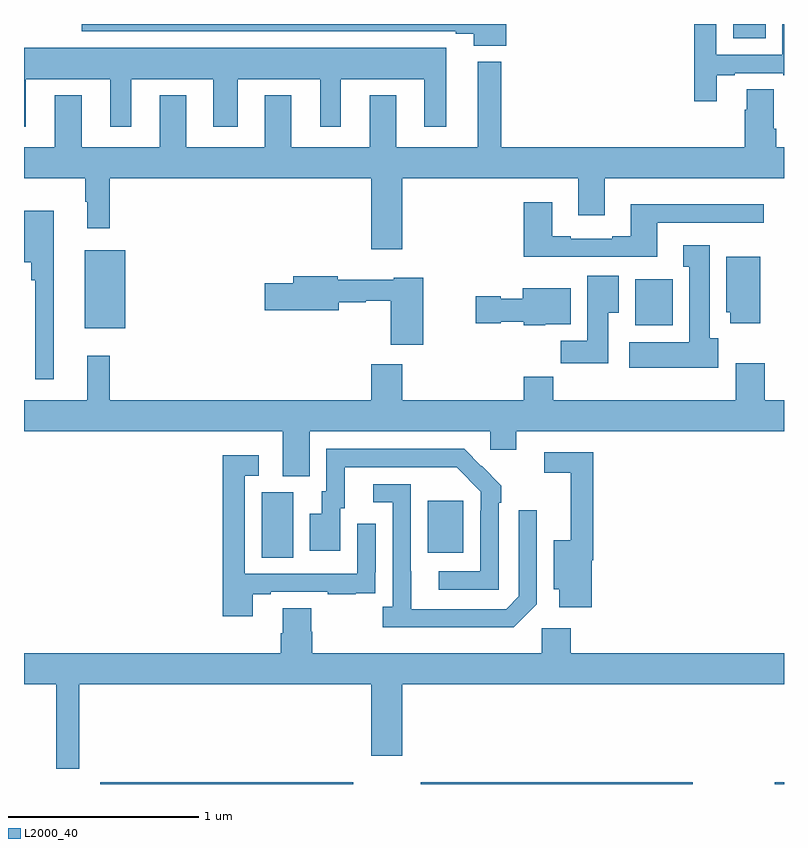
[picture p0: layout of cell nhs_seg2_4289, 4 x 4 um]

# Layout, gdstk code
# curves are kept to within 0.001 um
import gdstk
lib = gdstk.Library(unit=1e-6, precision=1e-09)
def R(c, l, rs):  # rectangles x0, y0, x1, y1
    for r in rs: c.add(gdstk.rectangle(r[:2], r[2:], *l))
def P(c, l, *ps):  # polygons
    for p in ps: c.add(gdstk.Polygon(p, *l))
L2000_40 = (2000, 40)

nhs_seg2_4289 = lib.new_cell('nhs_seg2_4289')
R(nhs_seg2_4289, L2000_40, [(343.402,625.8,344.732,625.808), (345.088,625.8,346.52,625.808), (346.95,625.8,347,625.808), (344.252,626.992,344.416,627.336), (345.125,627.017,345.313,627.292), (343.319,628.199,343.534,628.609), (346.217,628.214,346.414,628.456), (346.733,629.726,346.903,629.8)])
P(nhs_seg2_4289, L2000_40, [(346.645,629.529),(346.741,629.529),(346.741,629.541),(346.997,629.541),(346.997,629.529),(347,629.529),(347,629.8),(346.991,629.8),(346.991,629.637),(346.644,629.637),(346.644,629.8),(346.528,629.8),(346.528,629.394),(346.645,629.394)],
  [(345.539,629.8),(343.305,629.8),(343.305,629.762),(345.272,629.762),(345.272,629.75),(345.368,629.75),(345.368,629.686),(345.539,629.686)],
  [(343.009,629.51),(343.454,629.51),(343.454,629.259),(343.564,629.259),(343.564,629.51),(343.997,629.51),(343.997,629.259),(344.125,629.259),(344.125,629.51),(344.558,629.51),(344.558,629.259),(344.668,629.259),(344.668,629.51),(345.107,629.51),(345.107,629.259),(345.223,629.259),(345.223,629.674),(343,629.674),(343,629.259),(343.009,629.259)],
  [(344.992,628.988),(345.917,628.988),(345.917,628.794),(346.057,628.794),(346.057,628.988),(347,628.988),(347,629.152),(346.958,629.152),(346.958,629.248),(346.945,629.248),(346.945,629.456),(346.805,629.456),(346.805,629.348),(346.793,629.348),(346.793,629.152),(345.511,629.152),(345.511,629.601),(345.389,629.601),(345.389,629.152),(344.959,629.152),(344.959,629.425),(344.819,629.425),(344.819,629.152),(344.407,629.152),(344.407,629.425),(344.267,629.425),(344.267,629.152),(343.855,629.152),(343.855,629.425),(343.715,629.425),(343.715,629.152),(343.303,629.152),(343.303,629.425),(343.163,629.425),(343.163,629.152),(343,629.152),(343,628.988),(343.323,628.988),(343.323,628.865),(343.334,628.865),(343.334,628.725),(343.451,628.725),(343.451,628.988),(344.828,628.988),(344.828,628.614),(344.992,628.614)],
  [(345.869,628.575),(346.333,628.575),(346.333,628.755),(346.894,628.755),(346.894,628.852),(346.193,628.852),(346.193,628.684),(346.097,628.684),(346.097,628.671),(345.877,628.671),(345.877,628.684),(345.781,628.684),(345.781,628.861),(345.629,628.861),(345.629,628.574),(345.869,628.574)],
  [(343.156,628.816),(343,628.816),(343,628.547),(343.039,628.547),(343.039,628.451),(343.059,628.451),(343.059,627.93),(343.156,627.93)],
  [(346.654,628.146),(346.609,628.146),(346.609,628.636),(346.469,628.636),(346.469,628.523),(346.502,628.523),(346.502,628.126),(346.185,628.126),(346.185,627.992),(346.654,627.992)],
  [(346.876,628.576),(346.697,628.576),(346.697,628.284),(346.718,628.284),(346.718,628.224),(346.876,628.224)],
  [(346.075,628.28),(346.129,628.28),(346.129,628.474),(345.965,628.474),(345.965,628.132),(345.826,628.132),(345.826,628.014),(346.075,628.014)],
  [(345.1,628.465),(344.946,628.465),(344.946,628.453),(344.652,628.453),(344.652,628.472),(344.417,628.472),(344.417,628.436),(344.268,628.436),(344.268,628.294),(344.656,628.294),(344.656,628.336),(344.799,628.336),(344.799,628.344),(344.93,628.344),(344.93,628.113),(345.1,628.113)],
  [(345.744,628.22),(345.877,628.22),(345.877,628.408),(345.626,628.408),(345.626,628.354),(345.51,628.354),(345.51,628.367),(345.378,628.367),(345.378,628.225),(345.51,628.225),(345.51,628.232),(345.63,628.232),(345.63,628.214),(345.744,628.214)],
  [(345.453,627.558),(345.592,627.558),(345.592,627.656),(347,627.656),(347,627.82),(346.898,627.82),(346.898,628.015),(346.745,628.015),(346.745,627.82),(345.785,627.82),(345.785,627.944),(345.629,627.944),(345.629,627.82),(344.992,627.82),(344.992,628.009),(344.828,628.009),(344.828,627.82),(343.451,627.82),(343.451,628.054),(343.334,628.054),(343.334,627.82),(343,627.82),(343,627.656),(344.363,627.656),(344.363,627.421),(344.503,627.421),(344.503,627.656),(345.453,627.656)],
  [(345.498,627.281),(345.513,627.281),(345.513,627.369),(345.316,627.564),(344.592,627.564),(344.592,627.342),(344.567,627.342),(344.567,627.223),(344.504,627.223),(344.504,627.027),(344.665,627.027),(344.665,627.252),(344.689,627.252),(344.689,627.468),(345.277,627.468),(345.405,627.339),(345.405,627.239),(345.402,627.239),(345.402,626.919),(345.183,626.919),(345.183,626.823),(345.498,626.823)],
  [(345.989,626.978),(345.995,626.978),(345.995,627.546),(345.738,627.546),(345.738,627.438),(345.878,627.438),(345.878,627.082),(345.788,627.082),(345.788,626.825),(345.818,626.825),(345.818,626.73),(345.989,626.73)],
  [(344.203,626.799),(344.299,626.799),(344.299,626.811),(344.599,626.811),(344.599,626.799),(344.747,626.799),(344.747,626.805),(344.849,626.805),(344.849,626.914),(344.85,626.914),(344.85,627.169),(344.754,627.169),(344.754,626.907),(344.163,626.907),(344.163,627.423),(344.236,627.423),(344.236,627.529),(344.047,627.529),(344.047,626.682),(344.203,626.682)],
  [(345.699,626.745),(345.699,627.241),(345.603,627.241),(345.603,626.787),(345.537,626.721),(345.037,626.721),(345.036,627.378),(344.838,627.378),(344.838,627.282),(344.94,627.282),(344.94,626.734),(344.889,626.734),(344.889,626.624),(345.578,626.624)],
  [(343.291,626.324),(344.828,626.324),(344.828,625.95),(344.992,625.95),(344.992,626.324),(347,626.324),(347,626.488),(345.878,626.488),(345.878,626.62),(345.726,626.62),(345.726,626.488),(344.516,626.488),(344.516,626.601),(344.511,626.601),(344.511,626.726),(344.363,626.726),(344.363,626.594),(344.351,626.594),(344.351,626.488),(343,626.488),(343,626.324),(343.169,626.324),(343.169,625.88),(343.291,625.88)])

lib.write_gds('nhs_seg2_4289.gds')
